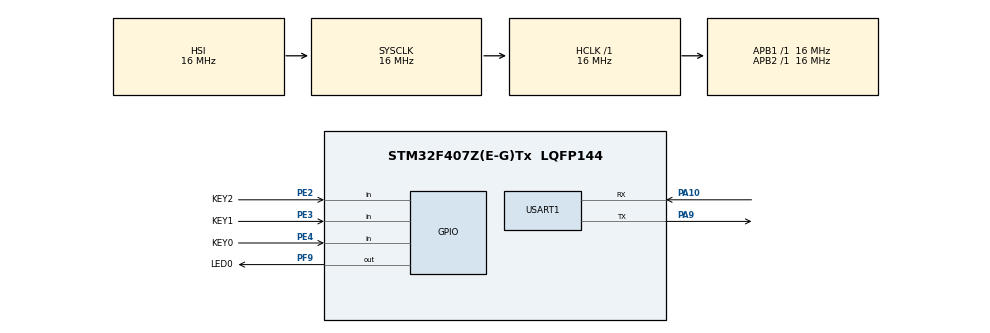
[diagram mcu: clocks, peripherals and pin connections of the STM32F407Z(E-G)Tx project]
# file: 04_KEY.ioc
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Mcu.Family=STM32F4
Mcu.Name=STM32F407Z(E-G)Tx
Mcu.Package=LQFP144
NVIC.PriorityGroup=NVIC_PRIORITYGROUP_4
PA10.Mode=Asynchronous
PA10.Signal=USART1_RX
PA9.Mode=Asynchronous
PA9.Signal=USART1_TX
PE2.GPIO_Label=KEY2
PE2.GPIO_Mode=GPIO_MODE_INPUT
PE2.GPIO_PuPd=GPIO_PULLUP
PE2.Signal=GPIO_Input
PE3.GPIO_Label=KEY1
PE3.GPIO_PuPd=GPIO_PULLUP
PE3.Signal=GPIO_Input
PE4.GPIO_Label=KEY0
PE4.GPIO_PuPd=GPIO_PULLUP
PE4.Signal=GPIO_Input
PF9.GPIO_Label=LED0
PF9.GPIO_Speed=GPIO_SPEED_FREQ_LOW
PF9.Signal=GPIO_Output
ProjectManager.HeapSize=0x200
ProjectManager.StackSize=0x400
ProjectManager.TargetToolchain=MDK-ARM V5
RCC.AHBFreq_Value=16000000
RCC.APB1Freq_Value=16000000
RCC.APB2Freq_Value=16000000
RCC.CortexFreq_Value=16000000
RCC.HSE_VALUE=25000000
RCC.HSI_VALUE=16000000
RCC.LSE_VALUE=32768
RCC.SYSCLKFreq_VALUE=16000000
RCC.VCOOutputFreq_Value=192000000
USART1.VirtualMode=VM_ASYNC
board=custom

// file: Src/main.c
/* USER CODE BEGIN Header */
/**
  ******************************************************************************
  * @file           : main.c
  * @brief          : Main program body
  ******************************************************************************
  * @attention
  *
  * <h2><center>&copy; Copyright (c) 2019 STMicroelectronics.
  * All rights reserved.</center></h2>
  *
  * This software component is licensed by ST under BSD 3-Clause license,
  * the "License"; You may not use this file except in compliance with the
  * License. You may obtain a copy of the License at:
  *                        opensource.org/licenses/BSD-3-Clause
  *
  ******************************************************************************
  */
/* USER CODE END Header */

#include "main.h"

UART_HandleTypeDef huart1;

void SystemClock_Config(void);
static void MX_GPIO_Init(void);
static void MX_USART1_UART_Init(void);

int main(void)
{
  /* USER CODE BEGIN 1 */
	uint8_t key_val;
  /* USER CODE END 1 */

  /* MCU Configuration--------------------------------------------------------*/

  /* Reset of all peripherals, Initializes the Flash interface and the Systick. */
  HAL_Init();

  /* Configure the system clock */
  SystemClock_Config();

  /* Initialize all configured peripherals */
  MX_GPIO_Init();
  MX_USART1_UART_Init();

  /* Infinite loop */
  while (1)
  {

    /* USER CODE BEGIN 3 */
	 // HAL_GPIO_WritePin(LED0_GPIO_Port, LED0_Pin, GPIO_PIN_RESET);
	  //HAL_Delay(3000);
			if(key_scan_flag)       //key_scan_flag
				{
					key_val = key_scan();
					switch(key_val)
						{
						case KEY_0_PRESS:
							 HAL_UART_Transmit(&huart1, "KEY_0\r\n", 7, 10);
							 HAL_GPIO_WritePin(LED0_GPIO_Port, LED0_Pin, GPIO_PIN_SET);
							break;
						case KEY_1_PRESS:
							 HAL_UART_Transmit(&huart1, "KEY_1\r\n", 7, 10);
							break;
						case KEY_2_PRESS:
							 HAL_UART_Transmit(&huart1, "KEY_2\r\n", 7, 10);
							break;
						default:
							break;

						}
				}
  }
  /* USER CODE END 3 */
}

void SystemClock_Config(void)
{
  RCC_OscInitTypeDef RCC_OscInitStruct = {0};
  RCC_ClkInitTypeDef RCC_ClkInitStruct = {0};

  /** Configure the main internal regulator output voltage
  */
  __HAL_RCC_PWR_CLK_ENABLE();
  __HAL_PWR_VOLTAGESCALING_CONFIG(PWR_REGULATOR_VOLTAGE_SCALE1);
  /** Initializes the CPU, AHB and APB busses clocks
  */
  RCC_OscInitStruct.OscillatorType = RCC_OSCILLATORTYPE_HSI;
  RCC_OscInitStruct.HSIState = RCC_HSI_ON;
  RCC_OscInitStruct.HSICalibrationValue = RCC_HSICALIBRATION_DEFAULT;
  RCC_OscInitStruct.PLL.PLLState = RCC_PLL_NONE;
  if (HAL_RCC_OscConfig(&RCC_OscInitStruct) != HAL_OK)
  {
    Error_Handler();
  }
  /** Initializes the CPU, AHB and APB busses clocks
  */
  RCC_ClkInitStruct.ClockType = RCC_CLOCKTYPE_HCLK|RCC_CLOCKTYPE_SYSCLK
                              |RCC_CLOCKTYPE_PCLK1|RCC_CLOCKTYPE_PCLK2;
  RCC_ClkInitStruct.SYSCLKSource = RCC_SYSCLKSOURCE_HSI;
  RCC_ClkInitStruct.AHBCLKDivider = RCC_SYSCLK_DIV1;
  RCC_ClkInitStruct.APB1CLKDivider = RCC_HCLK_DIV1;
  RCC_ClkInitStruct.APB2CLKDivider = RCC_HCLK_DIV1;

  if (HAL_RCC_ClockConfig(&RCC_ClkInitStruct, FLASH_LATENCY_0) != HAL_OK)
  {
    Error_Handler();
  }
}

static void MX_USART1_UART_Init(void)
{

  huart1.Instance = USART1;
  huart1.Init.BaudRate = 115200;
  huart1.Init.WordLength = UART_WORDLENGTH_8B;
  huart1.Init.StopBits = UART_STOPBITS_1;
  huart1.Init.Parity = UART_PARITY_NONE;
  huart1.Init.Mode = UART_MODE_TX_RX;
  huart1.Init.HwFlowCtl = UART_HWCONTROL_NONE;
  huart1.Init.OverSampling = UART_OVERSAMPLING_16;
  if (HAL_UART_Init(&huart1) != HAL_OK)
  {
    Error_Handler();
  }

}

static void MX_GPIO_Init(void)
{
  GPIO_InitTypeDef GPIO_InitStruct = {0};

  /* GPIO Ports Clock Enable */
  __HAL_RCC_GPIOE_CLK_ENABLE();
  __HAL_RCC_GPIOF_CLK_ENABLE();
  __HAL_RCC_GPIOA_CLK_ENABLE();

  /*Configure GPIO pin Output Level */
  HAL_GPIO_WritePin(LED0_GPIO_Port, LED0_Pin, GPIO_PIN_RESET);

  /*Configure GPIO pins : KEY2_Pin KEY1_Pin KEY0_Pin */
  GPIO_InitStruct.Pin = KEY2_Pin|KEY1_Pin|KEY0_Pin;
  GPIO_InitStruct.Mode = GPIO_MODE_INPUT;
  GPIO_InitStruct.Pull = GPIO_PULLUP;
  HAL_GPIO_Init(GPIOE, &GPIO_InitStruct);

  /*Configure GPIO pin : LED0_Pin */
  GPIO_InitStruct.Pin = LED0_Pin;
  GPIO_InitStruct.Mode = GPIO_MODE_OUTPUT_PP;
  GPIO_InitStruct.Pull = GPIO_NOPULL;
  GPIO_InitStruct.Speed = GPIO_SPEED_FREQ_LOW;
  HAL_GPIO_Init(LED0_GPIO_Port, &GPIO_InitStruct);

}

/* USER CODE BEGIN 4 */
void HAL_SYSTICK_Callback(void)
{
	static uint8_t tick_cnt = 0;

	tick_cnt++;
	if(10 == tick_cnt)
	{
		tick_cnt = 0;
		key_scan_flag = 1;
	}
}
/* USER CODE END 4 */

void Error_Handler(void)
{
}

/************************ (C) COPYRIGHT STMicroelectronics *****END OF FILE****/
